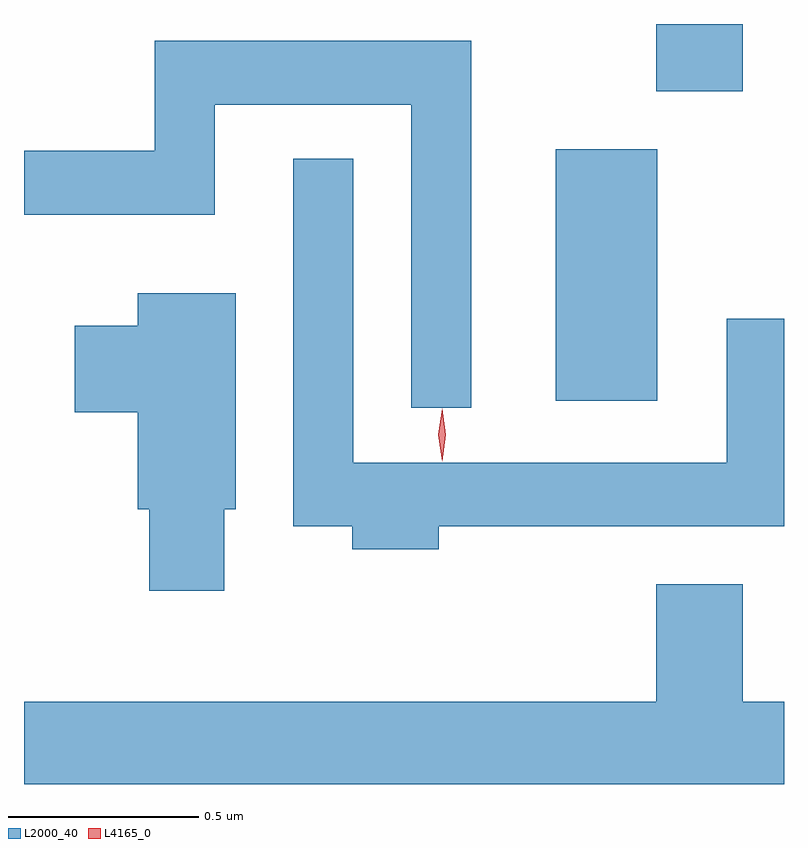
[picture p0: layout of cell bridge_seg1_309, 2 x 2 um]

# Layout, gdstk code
import gdstk
lib = gdstk.Library(unit=1e-6, precision=1e-09)
def R(c, l, rs):  # rectangles x0, y0, x1, y1
    for r in rs: c.add(gdstk.rectangle(r[:2], r[2:], *l))
def P(c, l, *ps):  # polygons
    for p in ps: c.add(gdstk.Polygon(p, *l))
L2000_40 = (2000, 40)
L4165_0 = (4165, 0)

bridge_seg1_309 = lib.new_cell('bridge_seg1_309')
R(bridge_seg1_309, L2000_40, [(874.596,873.996,874.864,874.659), (874.861,874.811,875.089,874.988)])
P(bridge_seg1_309, L2000_40, [(874.374,874.944),(873.541,874.944),(873.541,874.654),(873.197,874.654),(873.197,874.486),(873.699,874.486),(873.699,874.776),(874.216,874.776),(874.216,873.978),(874.374,873.978)],
  [(874.289,873.666),(875.197,873.666),(875.197,874.213),(875.046,874.213),(875.046,873.834),(874.064,873.834),(874.064,874.633),(873.906,874.633),(873.906,873.666),(874.061,873.666),(874.061,873.606),(874.289,873.606)],
  [(873.724,873.711),(873.754,873.711),(873.754,874.279),(873.496,874.279),(873.496,874.194),(873.331,874.194),(873.331,873.966),(873.496,873.966),(873.496,873.711),(873.526,873.711),(873.526,873.496),(873.724,873.496)],
  [(875.197,873.204),(875.089,873.204),(875.089,873.514),(874.861,873.514),(874.861,873.204),(873.197,873.204),(873.197,872.988),(875.197,872.988)])
P(bridge_seg1_309, L4165_0, [(874.297,873.837),(874.297,873.837),(874.287,873.907),(874.297,873.976),(874.297,873.976),(874.298,873.976),(874.307,873.907),(874.298,873.837)])

lib.write_gds('bridge_seg1_309.gds')
